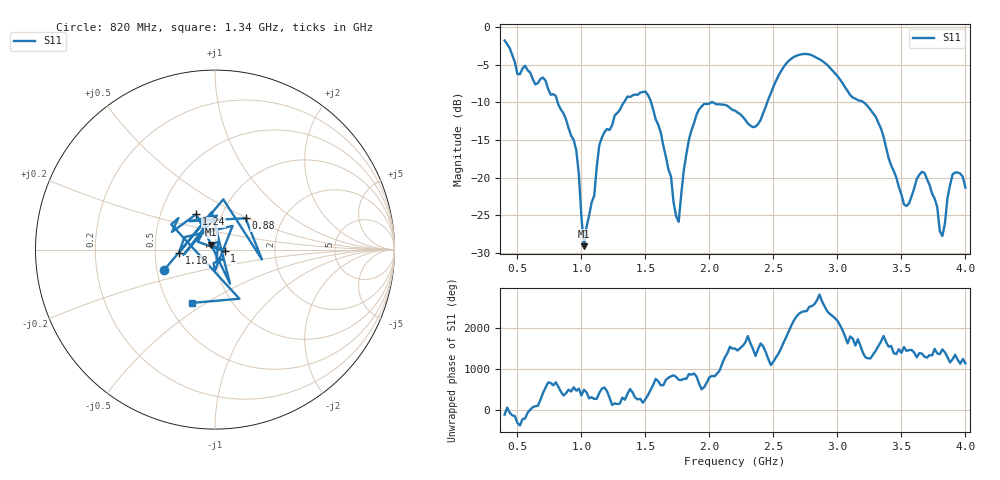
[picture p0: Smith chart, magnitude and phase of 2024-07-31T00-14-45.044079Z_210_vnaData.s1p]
!Created with skrf (http://scikit-rf.org).
# Hz S RI R 50.0
!freq ReS11 ImS11
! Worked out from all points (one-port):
!   181 points, 400 MHz to 4 GHz, reference 50 ohm
!   lowest |S11| = -29.1 dB at 1.02 GHz (marker M1), VSWR 1.07, Z = 47.8 + j2.6 ohm
!   |S11| at or under -10 dB: 815 MHz to 1.332 GHz (516.6 MHz wide, 48.1 % of centre); 1.545 GHz to 2.013 GHz (468.6 MHz wide, 26.3 % of centre); 3.207 GHz to end of sweep (the widest 3 of 4)
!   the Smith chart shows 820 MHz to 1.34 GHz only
!   S11 on the Smith chart (normalised r, x): 820 MHz: 0.55, -0.14; 880 MHz: 1.31, +0.49; 1 GHz: 1.11, -0.02; 1.18 GHz: 0.67, -0.02; 1.24 GHz: 0.76, +0.31; 1.34 GHz: 0.66, -0.44
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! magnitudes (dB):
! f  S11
! 400 MHz  -1.7
! 500 MHz  -6.2
! 700 MHz  -6.7
! 820 MHz  -10.3
! 860 MHz  -11.5
! 880 MHz  -12.3
! 960 MHz  -16.4
! 1 GHz  -25.2
! 1.02 GHz  -29.1
! 1.14 GHz  -15.7
! 1.18 GHz  -13.9
! 1.24 GHz  -13.0
! 1.3 GHz  -11.0
! 1.34 GHz  -9.8
! 1.54 GHz  -9.7
! 1.76 GHz  -25.9
! 1.84 GHz  -15.0
! 1.92 GHz  -10.9
! 2.2 GHz  -11.1
! 2.36 GHz  -13.2
! 2.66 GHz  -3.9
! 3.1 GHz  -9.0
! 3.3 GHz  -11.9
! 3.56 GHz  -23.4
! 3.68 GHz  -19.4
! 3.82 GHz  -27.8
! 3.9 GHz  -19.6
! 4 GHz  -21.3
